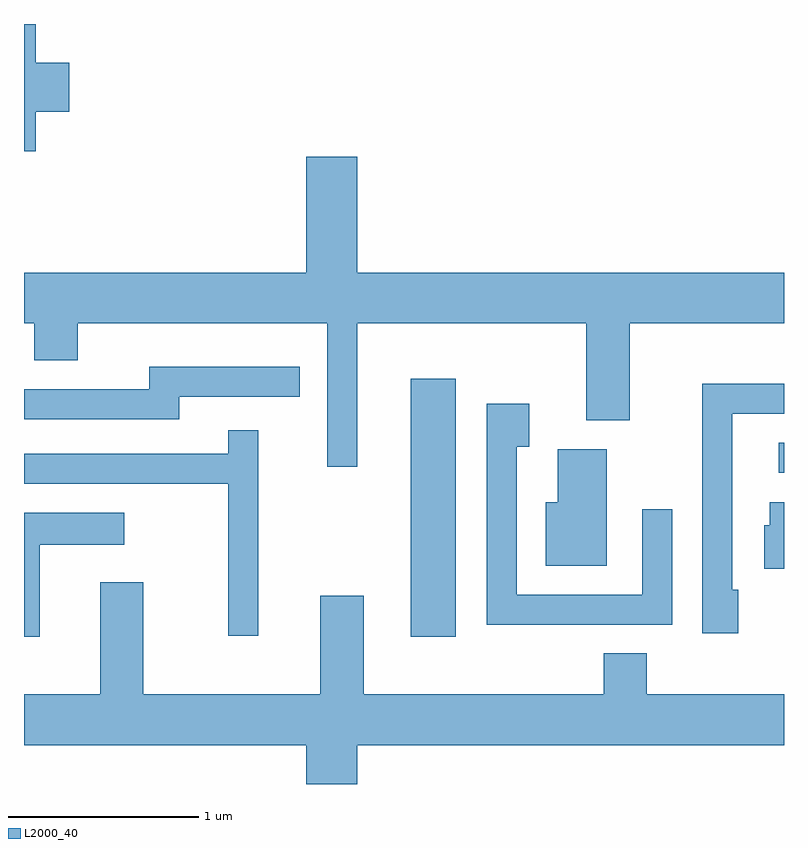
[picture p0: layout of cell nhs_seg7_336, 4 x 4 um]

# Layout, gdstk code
import gdstk
lib = gdstk.Library(unit=1e-6, precision=1e-09)
def R(c, l, rs):  # rectangles x0, y0, x1, y1
    for r in rs: c.add(gdstk.rectangle(r[:2], r[2:], *l))
def P(c, l, *ps):  # polygons
    for p in ps: c.add(gdstk.Polygon(p, *l))
L2000_40 = (2000, 40)

nhs_seg7_336 = lib.new_cell('nhs_seg7_336')
R(nhs_seg7_336, L2000_40, [(195.646,1797.026,195.884,1798.384), (197.583,1797.891,197.611,1798.049)])
P(nhs_seg7_336, L2000_40, [(193.674,1799.791),(193.849,1799.791),(193.849,1800.049),(193.674,1800.049),(193.674,1800.252),(193.611,1800.252),(193.611,1799.581),(193.674,1799.581)],
  [(195.364,1798.676),(196.571,1798.676),(196.571,1798.166),(196.799,1798.166),(196.799,1798.676),(197.611,1798.676),(197.611,1798.944),(195.364,1798.944),(195.364,1799.554),(195.096,1799.554),(195.096,1798.944),(193.611,1798.944),(193.611,1798.676),(193.666,1798.676),(193.666,1798.481),(193.894,1798.481),(193.894,1798.676),(195.206,1798.676),(195.206,1797.923),(195.364,1797.923)],
  [(194.429,1798.291),(195.063,1798.291),(195.063,1798.449),(194.271,1798.449),(194.271,1798.329),(193.611,1798.329),(193.611,1798.171),(194.429,1798.171)],
  [(197.369,1797.274),(197.339,1797.274),(197.339,1798.201),(197.611,1798.201),(197.611,1798.359),(197.181,1798.359),(197.181,1797.046),(197.369,1797.046)],
  [(197.024,1797.698),(196.866,1797.698),(196.866,1797.249),(196.204,1797.249),(196.204,1798.026),(196.269,1798.026),(196.269,1798.254),(196.046,1798.254),(196.046,1797.091),(197.024,1797.091)],
  [(194.844,1798.113),(194.686,1798.113),(194.686,1797.989),(193.611,1797.989),(193.611,1797.831),(194.686,1797.831),(194.686,1797.033),(194.844,1797.033)],
  [(196.679,1798.014),(196.421,1798.014),(196.421,1797.734),(196.356,1797.734),(196.356,1797.401),(196.679,1797.401)],
  [(197.611,1797.734),(197.536,1797.734),(197.536,1797.614),(197.506,1797.614),(197.506,1797.386),(197.611,1797.386)],
  [(193.694,1797.511),(194.138,1797.511),(194.138,1797.679),(193.611,1797.679),(193.611,1797.026),(193.694,1797.026)],
  [(195.364,1796.456),(197.611,1796.456),(197.611,1796.724),(196.889,1796.724),(196.889,1796.939),(196.661,1796.939),(196.661,1796.724),(195.399,1796.724),(195.399,1797.244),(195.171,1797.244),(195.171,1796.724),(194.239,1796.724),(194.239,1797.314),(194.011,1797.314),(194.011,1796.724),(193.611,1796.724),(193.611,1796.456),(195.096,1796.456),(195.096,1796.252),(195.364,1796.252)])

lib.write_gds('nhs_seg7_336.gds')
